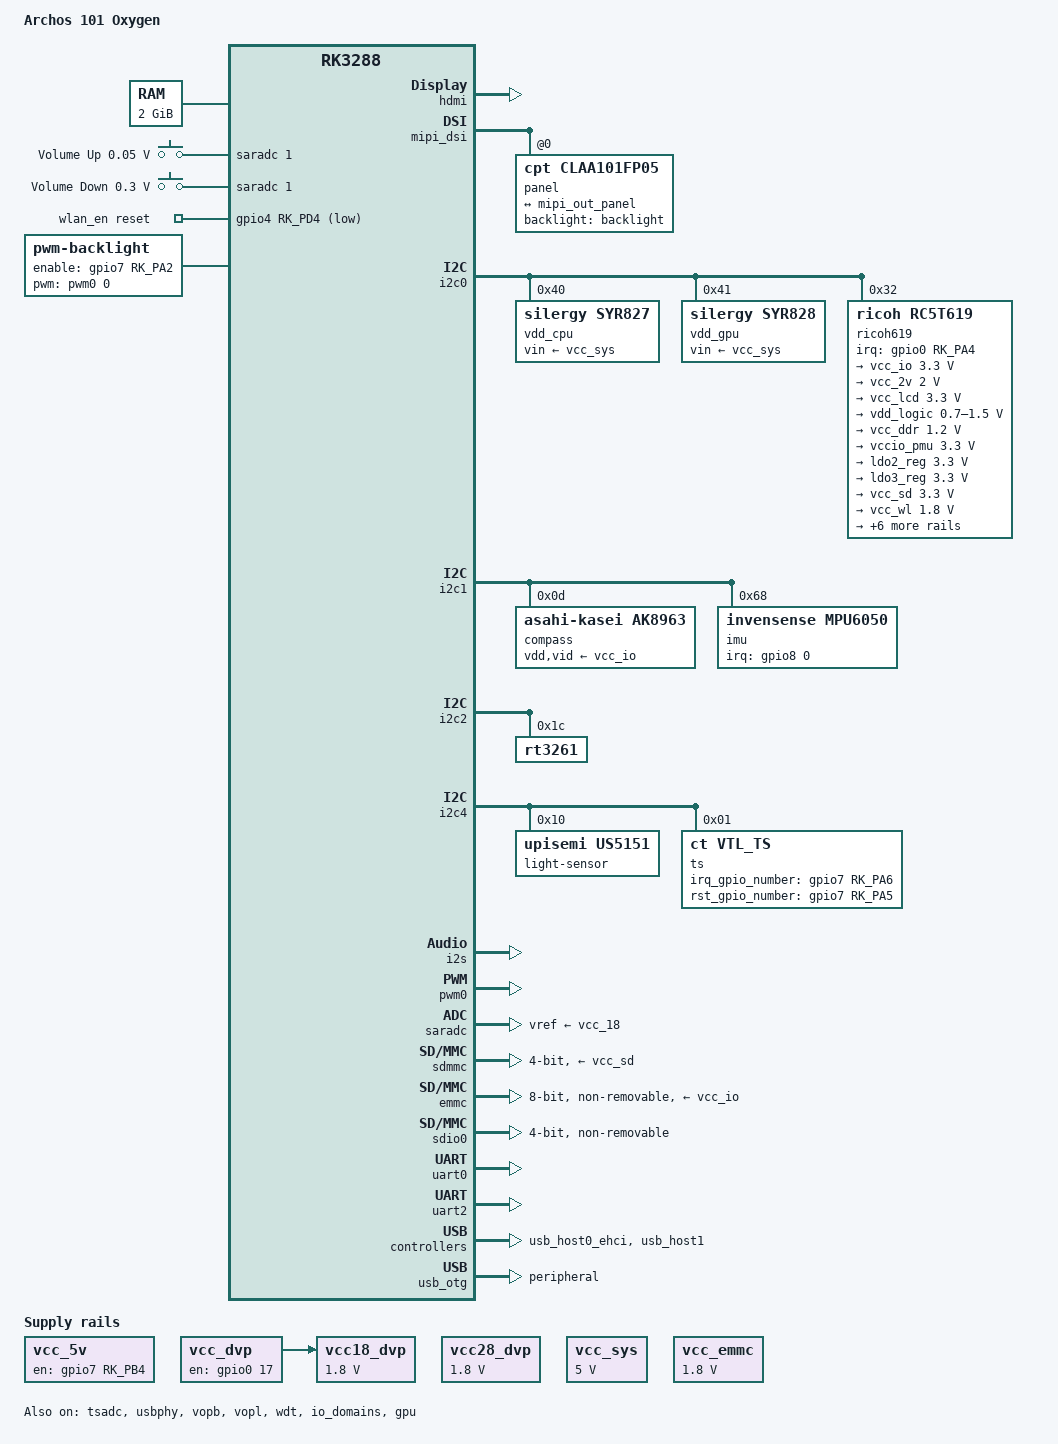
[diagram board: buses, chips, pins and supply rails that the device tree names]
// SPDX-License-Identifier: (GPL-2.0+ OR MIT)
/*
 * Copyright (c) 2015 Heiko Stuebner <heiko@sntech.de>
 */

/dts-v1/;
#include <dt-bindings/input/input.h>
#include <dt-bindings/pwm/pwm.h>
#include "rk3288.dtsi"

/ {
	model = "Archos 101 Oxygen";
	compatible = "archos,ac101ox", "rockchip,rk3288";

	memory@0 {
		device_type = "memory";
		reg = <0x0 0x0 0x0 0x80000000>;
	};

	adc-keys {
		compatible = "adc-keys";
		io-channels = <&saradc 1>;
		io-channel-names = "buttons";
		keyup-threshold-microvolt = <2000000>;
		poll-interval = <40>;
		autorepeat;

		button@50 {
			label = "Volume Up";
			linux,code = <KEY_VOLUMEUP>;
			press-threshold-microvolt = <50000>;
		};

		button@300 {
			label = "Volume Down";
			linux,code = <KEY_VOLUMEDOWN>;
			press-threshold-microvolt = <300000>;
		};
	};

    
    //This is used both for USB Host port and for HDMI DDC pull-up
	vcc_5v: vcc-5v-regulator {
		compatible = "regulator-fixed";
		enable-active-high;
		gpio = <&gpio7 RK_PB4 GPIO_ACTIVE_HIGH>;
		pinctrl-names = "default";
		pinctrl-0 = <&vcc50_drv>;
		regulator-name = "vcc_5v";

        /* Always on as the rockchip usb phy doesn't have a vbus-supply
         * property
        */
		regulator-always-on;
	};

	vcc_dvp: vcc-dvp {
		compatible = "regulator-fixed";
		enable-active-high;
		gpio = <&gpio0 17 GPIO_ACTIVE_HIGH>;
		pinctrl-names = "default";
		pinctrl-0 = <&vcc_dvp_drv>;
		regulator-name = "vcc_dvp";
	};

	vcc18_dvp: vcc-18-dvp {
		compatible = "regulator-fixed";
		enable-active-high;
		regulator-name = "vcc18_dvp";
		regulator-min-microvolt = <1800000>;
		regulator-max-microvolt = <1800000>;
		vin-supply = <&vcc_dvp>;
	};

	vcc28_dvp: vcc-28-dvp {
		compatible = "regulator-fixed";
		enable-active-high;
		regulator-name = "vcc28_dvp";
		regulator-min-microvolt = <1800000>;
		regulator-max-microvolt = <1800000>;
		vin = <&vcc_dvp>;
	};

	vcc_sys: sys-regulator {
		compatible = "regulator-fixed";
		regulator-name = "sys-supply";
		regulator-min-microvolt = <5000000>;
		regulator-max-microvolt = <5000000>;
		regulator-always-on;
		regulator-boot-on;
	};

	/* This regulator can't be controled in software
	   It is enabled by vcc_io and powered by vcc_sys
    */
	vcc_emmc: vcc_emmc {
		compatible = "regulator-fixed";
		regulator-name = "vcc_emmc";
		regulator-boot-on;
		regulator-min-microvolt = <1800000>;
		regulator-max-microvolt = <1800000>;
		regulator-always-on;
	};

	wlan_en: wlan_en {
		compatible = "mmc-pwrseq-simple";
		pinctrl-names = "default";
		pinctrl-0 = <&wlan_en_ctrl>;
		reset-gpios = <&gpio4 RK_PD4 GPIO_ACTIVE_LOW>;
		post-power-on-delay-ms = <100>;
	};

	sound {
		compatible = "simple-audio-card";
		simple-audio-card,format = "i2s";
		simple-audio-card,name = "rockchip,ac101ox-codec";
		simple-audio-card,mclk-fs = <512>;
		simple-audio-card,cpu {
			sound-dai = <&i2s>;
		};
		simple-audio-card,codec {
			sound-dai = <&hdmi>;
		};
	};

	backlight: backlight {
		compatible = "pwm-backlight";
		pwms = <&pwm0 0 5000000 0>;
		pinctrl-names = "default";
		pinctrl-0 = <&bl_en>;
		brightness-levels = <0 1 2 3 4 5 6 7 8 9 10 11 12 13 14 15 16 17 18 19 20 21 22 23 24 25 26 27 28 29 30 31 32 33 34 35 36 37 38 39 40 41 42 43 44 45 46 47 48 49 50 51 52 53 54 55 56 57 58 59 60 61 62 63 64 65 66 67 68 69 70 71 72 73 74 75 76 77 78 79 80 81 82 83 84 85 86 87 88 89 90 91 92 93 94 95 96 97 98 99 100 101 102 103 104 105 106 107 108 109 110 111 112 113 114 115 116 117 118 119 120 121 122 123 124 125 126 127 128 129 130 131 132 133 134 135 136 137 138 139 140 141 142 143 144 145 146 147 148 149 150 151 152 153 154 155 156 157 158 159 160 161 162 163 164 165 166 167 168 169 170 171 172 173 174 175 176 177 178 179 180 181 182 183 184 185 186 187 188 189 190 191 192 193 194 195 196 197 198 199 200 201 202 203 204 205 206 207 208 209 210 211 212 213 214 215 216 217 218 219 220 221 222 223 224 225 226 227 228 229 230 231 232 233 234 235 236 237 238 239 240 241 242 243 244 245 246 247 248 249 250 251 252 253 254 255>;
		default-brightness-level = <200>;
		min-brightness-level = <80>;
		enable-gpios = <&gpio7 RK_PA2 GPIO_ACTIVE_HIGH>;
	};

};

&cpu0 {
	cpu-supply = <&vdd_cpu>;
};

&cpu1 {
	cpu-supply = <&vdd_cpu>;
};

&cpu2 {
	cpu-supply = <&vdd_cpu>;
};

&cpu3 {
	cpu-supply = <&vdd_cpu>;
};

&hdmi {
	status = "okay";
    pinctrl-names = "default", "unwedge";
    pinctrl-0 = <&hdmi_ddc>;
    pinctrl-1 = <&hdmi_ddc_unwedge>;
    //ddc-i2c-bus = <&i2c5>;
};

&mipi_dsi {
    status = "okay";
    //ddc-i2c-bus = <&i2c4>;
//pinctrl-names = "lcdc";
//pinctrl-0 = <&lcdc_ctl>;
#address-cells = <1>;
#size-cells = <0>;
    panel: panel@0 {
        compatible = "cpt,claa101fp05";
        reg = <0>;
        status = "okay";

        //power-supply = <&vcc_lcd>;
        backlight = <&backlight>;
        //ddc-i2c-bus = <&i2c4>;

        port {
            panel_in_mipi: endpoint {
                remote-endpoint = <&mipi_out_panel>;
            };
        };
    };
};

&mipi_out {
    #address-cells = <1>;
    #size-cells = <0>;

    mipi_out_panel: endpoint {
        remote-endpoint = <&panel_in_mipi>;
    };
};

&i2c0 {
	status = "okay";

	vdd_cpu: pmic@40 {
		compatible = "silergy,syr827";
		reg = <0x40>;
		fcs,suspend-voltage-selector = <1>;
		regulator-name = "VDD_CPU";
		regulator-enable-ramp-delay = <300>;
		regulator-min-microvolt = <850000>;
		regulator-max-microvolt = <1350000>;
		regulator-ramp-delay = <8000>;
		regulator-always-on;
		regulator-boot-on;
		vin-supply = <&vcc_sys>;
	};

	vdd_gpu: pmic@41 {
		compatible = "silergy,syr828";
		reg = <0x41>;
		fcs,suspend-voltage-selector = <1>;
		regulator-name = "VDD_GPU";
		regulator-enable-ramp-delay = <300>;
		regulator-min-microvolt = <850000>;
		regulator-max-microvolt = <1350000>;
		regulator-ramp-delay = <8000>;
		regulator-always-on;
		regulator-boot-on;
		vin-supply = <&vcc_sys>;
	};

        ricoh619: pmic@32 {
                compatible = "ricoh,rc5t619";
                pinctrl-names = "default";
                pinctrl-0 = <&pinctrl_ricoh_gpio>;
                reg = <0x32>;
                interrupt-parent = <&gpio0>;
                interrupts = <RK_PA4 IRQ_TYPE_LEVEL_LOW>;
                system-power-controller;

               /* pinctrl-names = "default";
                pinctrl-0 = <&pmic_vsel>, <&pwr_hold>;
                system-power-controller;*/

                regulators {
                        vcc_io: DCDC1 {
                                regulator-name = "vccio";
                                regulator-min-microvolt = <3300000>;
                                regulator-max-microvolt = <3300000>;
                                regulator-always-on;
                                regulator-boot-on;

                                regulator-state-mem {
                                        regulator-on-in-suspend;
                                        regulator-suspend-max-microvolt = <3300000>;
                                        regulator-suspend-min-microvolt = <3300000>;
                                };
                        };

                        DCDC2 {
                                regulator-name = "vcc_2v";
                                regulator-always-on;
                                regulator-boot-on;
                                regulator-min-microvolt = <2000000>;
                                regulator-max-microvolt = <2000000>;

                                regulator-state-mem {
                                        regulator-on-in-suspend;
                                        regulator-suspend-max-microvolt = <2000000>;
                                        regulator-suspend-min-microvolt = <2000000>;
                                };
                        };

                        vcc_lcd: DCDC3 {
                                regulator-name = "vcc_lcd";
                                regulator-min-microvolt = <3300000>;
                                regulator-max-microvolt = <3300000>;
                                regulator-always-on;
                                regulator-boot-on;

                                regulator-state-mem {
                                        regulator-on-in-suspend;
                                        regulator-suspend-max-microvolt = <3300000>;
                                        regulator-suspend-min-microvolt = <3300000>;
                                };
                        };

                        vdd_logic: DCDC4 {
                                regulator-name = "vdd_logic";
                                regulator-min-microvolt = <700000>;
                                regulator-max-microvolt = <1500000>;
                                regulator-always-on;
                                regulator-boot-on;

                                regulator-state-mem {
                                        regulator-on-in-suspend;
                                        regulator-suspend-max-microvolt = <900000>;
                                        regulator-suspend-min-microvolt = <900000>;
                                };
                        };

                        vcc_ddr: DCDC5 {
                                regulator-name = "DCDC5";
                                regulator-min-microvolt = <1200000>;
                                regulator-max-microvolt = <1200000>;
                                regulator-always-on;
                                regulator-boot-on;

                                regulator-state-mem {
                                        regulator-on-in-suspend;
                                        regulator-suspend-max-microvolt = <1200000>;
                                        regulator-suspend-min-microvolt = <1200000>;
                                };
                        };

                        vccio_pmu: LDO1  {
                                regulator-name = "LDO1";
                                regulator-always-on;
                                regulator-boot-on;
                                regulator-min-microvolt = <3300000>;
                                regulator-max-microvolt = <3300000>;
                                regulator-state-mem {
                                        regulator-on-in-suspend;
                                        regulator-suspend-max-microvolt = <3300000>;
                                        regulator-suspend-min-microvolt = <3300000>;
                                };
                        };

                        ldo2_reg: LDO2  {
                                regulator-name = "LDO2";
                                regulator-always-on;
                                regulator-boot-on;
                                regulator-min-microvolt = <3300000>;
                                regulator-max-microvolt = <3300000>;

                                regulator-state-mem {
                                        regulator-on-in-suspend;
                                        regulator-suspend-max-microvolt = <3300000>;
                                        regulator-suspend-min-microvolt = <3300000>;
                                };
                        };

                        ldo3_reg: LDO3  {
                                regulator-name = "LDO3";
                                regulator-always-on;
                                regulator-boot-on;
                                regulator-min-microvolt = <3300000>;
                                regulator-max-microvolt = <3300000>;

                                regulator-state-mem {
                                        regulator-on-in-suspend;
                                        regulator-suspend-max-microvolt = <3300000>;
                                        regulator-suspend-min-microvolt = <3300000>;
                                };
                        };

                        vcc_sd: LDO4 {
                                regulator-name = "LDO4";
                                regulator-boot-on;
                                regulator-always-on;
                                regulator-min-microvolt = <3300000>;
                                regulator-max-microvolt = <3300000>;

                                regulator-state-mem {
                                        regulator-on-in-suspend;
                                        regulator-suspend-max-microvolt = <3300000>;
                                        regulator-suspend-min-microvolt = <3300000>;
                                };
                        };

                        vcc_wl: LDO5 {
                                regulator-name = "LDO5";
                                regulator-always-on;
                                regulator-boot-on;
                                regulator-min-microvolt = <1800000>;
                                regulator-max-microvolt = <1800000>;

                                regulator-state-mem {
                                        regulator-on-in-suspend;
                                        regulator-suspend-max-microvolt = <1800000>;
                                        regulator-suspend-min-microvolt = <1800000>;
                                };
                        };

                        ldo6_reg: LDO6 {
                                regulator-name = "LDO6";
                                regulator-always-on;
                                regulator-boot-on;
                                regulator-min-microvolt = <1800000>;
                                regulator-max-microvolt = <1800000>;

                                regulator-state-mem {
                                        regulator-on-in-suspend;
                                        regulator-suspend-max-microvolt = <1800000>;
                                        regulator-suspend-min-microvolt = <1800000>;
                                };
                        };

                        /* VDD_PWM */
                        ldo7_reg: LDO7 {
                                regulator-name = "LDO7";
                                regulator-always-on;
                                regulator-boot-on;
                                regulator-min-microvolt = <1000000>;
                                regulator-max-microvolt = <1000000>;

                                regulator-state-mem {
                                        regulator-on-in-suspend;
                                        regulator-suspend-max-microvolt = <1000000>;
                                        regulator-suspend-min-microvolt = <1000000>;
                                };
                        };

                        /* ldo_1v8 */
                        vccio_sd: LDO8 {
                                regulator-name = "LDO8";
                                regulator-min-microvolt = <3300000>;
                                regulator-max-microvolt = <3300000>;
                                regulator-always-on;
                                regulator-boot-on;
                        };

                        ldo9_reg: LDO9 {
                                regulator-name = "LDO9";
                                regulator-boot-on;
                                regulator-always-on;
                                regulator-min-microvolt = <1000000>;
                                regulator-max-microvolt = <1000000>;
                        };

                        vcc_18: LDO10 {
                                regulator-name = "LDO10";
                                regulator-boot-on;
                                regulator-always-on;
                                regulator-min-microvolt = <1800000>;
                                regulator-max-microvolt = <1800000>;

                                regulator-state-mem {
                                        regulator-on-in-suspend;
                                        regulator-suspend-max-microvolt = <1800000>;
                                        regulator-suspend-min-microvolt = <1800000>;
                                };
                        };

                        ldortc1_reg: LDORTC1  {
                                regulator-name = "LDORTC1";
                                regulator-always-on;
                                regulator-boot-on;
                                regulator-min-microvolt = <3300000>;
                                regulator-max-microvolt = <3300000>;
                        };
                };
        };
};

&i2c1 {
    status = "okay";
    compass@d {
       	compatible = "asahi-kasei,ak8963";
		reg = <0x0d>;
		mount-matrix =
			"1", "0", "0",
			"0", "1", "0",
			"0", "0", "1";
		status = "okay";
		vdd-supply = <&vcc_io>;
		vid-supply = <&vcc_io>;
    };

 	imu@68 {
		compatible = "invensense,mpu6050";
		reg = <0x68>;
        // TODO: pinctrl for this interrupt
		interrupt-parent = <&gpio8>;
		interrupts = <0 IRQ_TYPE_EDGE_RISING>;
		mount-matrix =
			"1", "0", "0",
			"0", "1", "0",
			"0", "0", "1";
		status = "okay";
	};
};

&i2c2 {
    status = "okay";
    // Unsupporrted mainline
    rt3261: rt3261@1c {
		compatible = "rt3261";
		reg = <0x1c>;
	//	codec-en-gpio = <0>;//sdk default high level
		spk-num= <2>;
		modem-input-mode = <1>;
		lout-to-modem_mode = <1>;
		spk-amplify = <2>;
		playback-if1-data_control = <0>;
		playback-if2-data_control = <0>;
	};
};

&i2c4 {
	status = "okay";
    light-sensor@10 {
		compatible = "upisemi,us5151";
		reg = <0x10>;
	};

    ts@1 {
        compatible = "ct,vtl_ts";
        reg = <0x01>;
        screen_max_x = <1020>;
        screen_max_y = <512>;
        xy_swap = <0>;
        x_reverse = <1>;
        y_reverse = <1>;
        x_mul = <1>;
        y_mul = <1>;
        bin_ver = <1>;
        irq_gpio_number = <&gpio7 RK_PA6 IRQ_TYPE_LEVEL_LOW>;
        rst_gpio_number = <&gpio7 RK_PA5 GPIO_ACTIVE_HIGH>;
    };

};

// HDMI
/*&i2c5 {
	status = "okay";
};*/

&i2s {
    status = "okay";
};

&pinctrl {
	backlight {
		bl_en: bl-en {
			rockchip,pins = <7 RK_PA2 RK_FUNC_GPIO &pcfg_pull_none>;
		};
	};

	pmic {
		pmic_int: pmic-int {
			rockchip,pins = <0 RK_PA3 RK_FUNC_GPIO &pcfg_pull_up>;
		};
	};

	vcc50 {
		vcc50_drv: vcc50_drv {
			rockchip,pins = <7 RK_PB4 RK_FUNC_GPIO &pcfg_pull_none>;
		};
	};

	vcc_dvp {
		vcc_dvp_drv: vcc_dvp {
			rockchip,pins = <0 RK_PC1 RK_FUNC_GPIO &pcfg_pull_none>;
		};
	};

	wlan_en {
		wlan_en_ctrl: wlan-en-ctrl {
			rockchip,pins = <4 RK_PD4 RK_FUNC_GPIO &pcfg_pull_none>;
		};
	};

	bt_en {
		bt_en_ctrl: bt-en-ctrl {
			rockchip,pins = <4 RK_PD5 RK_FUNC_GPIO &pcfg_pull_none>;
		};
	};
    ts_rst {
        pinctrl_ts: pinctrl-ts {
            rockchip,pins = <7 RK_PA5 RK_FUNC_GPIO &pcfg_pull_none>,
                <7 RK_PA6 RK_FUNC_GPIO &pcfg_pull_none>;
        };
    };

    pmic {
        pinctrl_ricoh_gpio: pinctrl-ricoh-gpio {
            rockchip,pins = <0 RK_PA4 RK_FUNC_GPIO &pcfg_pull_up>;
        };
    };
};

&pwm0 {
	status = "okay";
};

&saradc {
	vref-supply = <&vcc_18>;
	status = "okay";
};

&sdmmc {
	bus-width = <4>;
	cap-mmc-highspeed;
	cap-sd-highspeed;
	card-detect-delay = <200>;
	disable-wp;
	pinctrl-names = "default";
	pinctrl-0 = <&sdmmc_clk &sdmmc_cmd &sdmmc_cd &sdmmc_bus4>;
	vmmc-supply = <&vcc_sd>;
	//vqmmc-supply = <&vccio_sd>;
	status = "okay";
};

&emmc {
    status = "okay";
	bus-width = <8>;
	cap-mmc-highspeed;
	disable-wp;
	non-removable;
	num-slots = <1>;
	pinctrl-names = "default";
	pinctrl-0 = <&emmc_clk &emmc_cmd &emmc_pwr &emmc_bus8>;
	vmmc-supply = <&vcc_io>;
	vqmmc-supply = <&vcc_emmc>;
};

&sdio0 {
	bus-width = <4>;
	disable-wp;
	non-removable;
	num-slots = <1>;
	pinctrl-names = "default";
	pinctrl-0 = <&sdio0_bus4>, <&sdio0_cmd>, <&sdio0_clk>;
	status = "okay";

	//vmmc-supply = <&vcc_wl>;
	//vqmmc-supply = <&vcc_wl>;
	mmc-pwrseq = <&wlan_en>;
};

&tsadc {
	rockchip,hw-tshut-mode = <0>;
	rockchip,hw-tshut-polarity = <0>;
	status = "okay";
};

&uart0 {
	status = "okay";
	pinctrl-names = "default";
	pinctrl-0 = <&uart0_xfer &uart0_cts &uart0_rts>;
};

&uart2 {
	status = "okay";
};

&usb_host0_ehci {
	status = "okay";
};

&usb_host1 {
	status = "okay";
};

&usb_otg {
dr_mode = "peripheral";
	status = "okay";
};

&usbphy {
	status = "okay";
};

&vopb {
	status = "okay";
};

&vopb_mmu {
	status = "okay";
};

&vopl {
	status = "okay";
};

&vopl_mmu {
	status = "okay";
};

&wdt {
	status = "okay";
};

&io_domains {
	status = "okay";

	audio-supply = <&vcc_18>;
	bb-supply = <&vcc_18>;
	dvp-supply = <&vcc18_dvp>;
	flash0-supply = <&vcc_emmc>;
	flash1-supply = <&vcc_emmc>;
	gpio30-supply = <&vccio_pmu>;
	gpio1830-supply = <&vcc_io>;
	lcdc-supply = <&vcc_lcd>;
	sdcard-supply = <&vccio_sd>;
	wifi-supply = <&vcc_wl>;
};

&gpu {
    mali-supply = <&vdd_gpu>;
    status = "okay";
};
